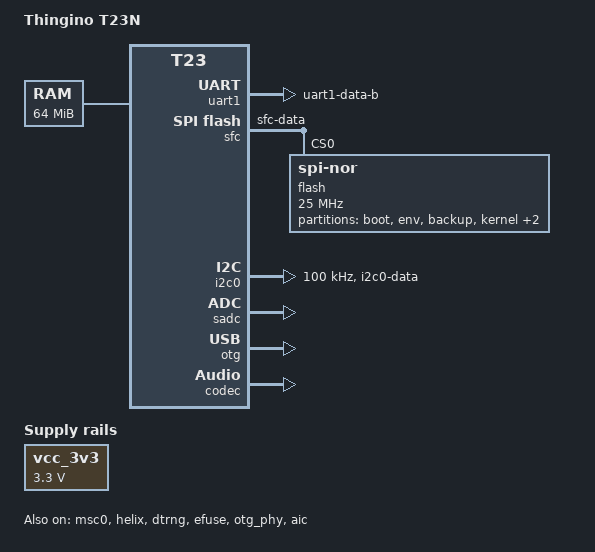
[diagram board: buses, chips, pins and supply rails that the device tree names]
// SPDX-License-Identifier: GPL-2.0
/dts-v1/;

#include <dt-bindings/gpio/gpio.h>

#include "t23.dtsi"

/ {
	compatible = "thingino,t23", "ingenic,t23";
	model = "Thingino T23N";

	aliases {
		serial1 = &uart1;
	};

	chosen {
		stdout-path = "serial1:115200n8";
	};

	memory@0 {
		device_type = "memory";
		/*
		 * 64 MiB as the T23N ships (the T23DL has 32 MiB); the split with
		 * the ISP memory is U-Boot's
		 */
		reg = <0x0 0x4000000>;
	};

	/*
	 * The media memory of the out-of-tree camera stack, where thingino's
	 * U-Boot puts it on this RAM size; its rmem= places and enables it
	 */
	reserved-memory {
		#address-cells = <1>;
		#size-cells = <1>;
		ranges;

		rmem: rmem@2900000 {
			reg = <0x2900000 0x1700000>;
			no-map;
			status = "disabled";
		};
	};
};

&exclk {
	clock-frequency = <24000000>;
};

&uart1 {
	status = "okay";

	pinctrl-names = "default";
	pinctrl-0 = <&pins_uart1>;
};

&tcu {
	/* 750 kHz for the system timer and clocksource; SYSOST is sched_clock */
	assigned-clocks = <&tcu TCU_CLK_TIMER0>, <&tcu TCU_CLK_TIMER1>;
	assigned-clock-rates = <750000>, <750000>;
};

&sfc {
	status = "okay";

	pinctrl-names = "default";
	pinctrl-0 = <&pins_sfc>;

	/*
	 * The 8 MiB NOR of the bench camera (thingino camera config
	 * cinnado_d1_t23n_sc2336_atbm6012bx, FLASH_SIZE_MB=8). The layout is
	 * the current thingino Makefile's (U-Boot 320K, env 64K, backup 64K,
	 * kernel 1600K, then the rootfs and data split of the image); never
	 * checked against the bench NOR, so everything is read-only.
	 */
	flash@0 {
		compatible = "jedec,spi-nor";
		reg = <0>;
		spi-max-frequency = <25000000>;

		partitions {
			compatible = "fixed-partitions";
			#address-cells = <1>;
			#size-cells = <1>;

			partition@0 {
				label = "boot";
				reg = <0x0 0x50000>;
				read-only;
			};

			partition@50000 {
				label = "env";
				reg = <0x50000 0x10000>;
				read-only;
			};

			partition@60000 {
				label = "backup";
				reg = <0x60000 0x10000>;
				read-only;
			};

			partition@70000 {
				label = "kernel";
				reg = <0x70000 0x190000>;
				read-only;
			};

			partition@200000 {
				label = "rootfs_data";
				reg = <0x200000 0x600000>;
				read-only;
			};

			partition-all@0 {
				label = "all";
				reg = <0x0 0x800000>;
				read-only;
			};
		};
	};
};

&msc0 {
	status = "okay";
	bus-width = <4>;
	max-frequency = <24000000>;
	/*
	 * The camera config puts the card detect on PB18 (gpio.mmc_cd 50) but
	 * its polarity is unverified; the pads are PB0-PB5 (KOPT_MMC0_PB_4BIT)
	 */
	broken-cd;

	pinctrl-names = "default";
	pinctrl-0 = <&pins_mmc0>;
};

&isp {
	/*
	 * consumed by the out-of-tree ISP modules, not bound by a driver; a
	 * board with two or three sensors behind a MIPI switch adds a
	 * "mipi-switch" state (pins_cim_mclk and pins_cim_mipi_switch), which
	 * the ISP selects when it hands the switch pad to the VIC
	 */
	pinctrl-names = "default";
	pinctrl-0 = <&pins_cim_mclk>;

	memory-region = <&rmem>;
};

&helix {
	/* the H.264/JPEG encoder, bound by the out-of-tree soc-vpu module */
	status = "okay";
};

&i2c0 {
	status = "okay";
	clock-frequency = <100000>;

	pinctrl-names = "default";
	pinctrl-0 = <&pins_i2c0>;
};

&sadc {
	status = "okay";
};

&dtrng {
	status = "okay";
};

&efuse {
	status = "okay";
};

/ {
	vcc_3v3: regulator-3v3 {
		compatible = "regulator-fixed";
		regulator-name = "vcc-3v3";
		regulator-min-microvolt = <3300000>;
		regulator-max-microvolt = <3300000>;
		regulator-always-on;
	};
};

&otg_phy {
	status = "okay";

	vcc-supply = <&vcc_3v3>;
};

&otg {
	status = "okay";
	disable-over-current;
};

&pinctrl {
	pins_uart1: uart1 {
		function = "uart1";
		groups = "uart1-data-b";
	};

	pins_mmc0: mmc0 {
		function = "mmc0";
		groups = "mmc0-1bit", "mmc0-4bit";
	};

	pins_sfc: sfc {
		function = "sfc";
		groups = "sfc-data";
	};

	pins_cim_mclk: cim-mclk {
		function = "cim";
		groups = "cim-mclk";
	};

	/* for a board with sensors behind a MIPI switch, see &isp */
	pins_cim_mipi_switch: cim-mipi-switch {
		function = "cim";
		groups = "cim-mipi-switch-a7";
	};

	pins_i2c0: i2c0 {
		function = "i2c0";
		groups = "i2c0-data";
	};
};

&aic {
	status = "okay";
};

&codec {
	/* Galayou Y4: thingino.json gpio.speaker {"pin": 39, "active_low": true} = PB7 */
	spk-gpios = <&gpb 7 GPIO_ACTIVE_LOW>;
	status = "okay";
};

&ipu {
	memory-region = <&rmem>;
};
